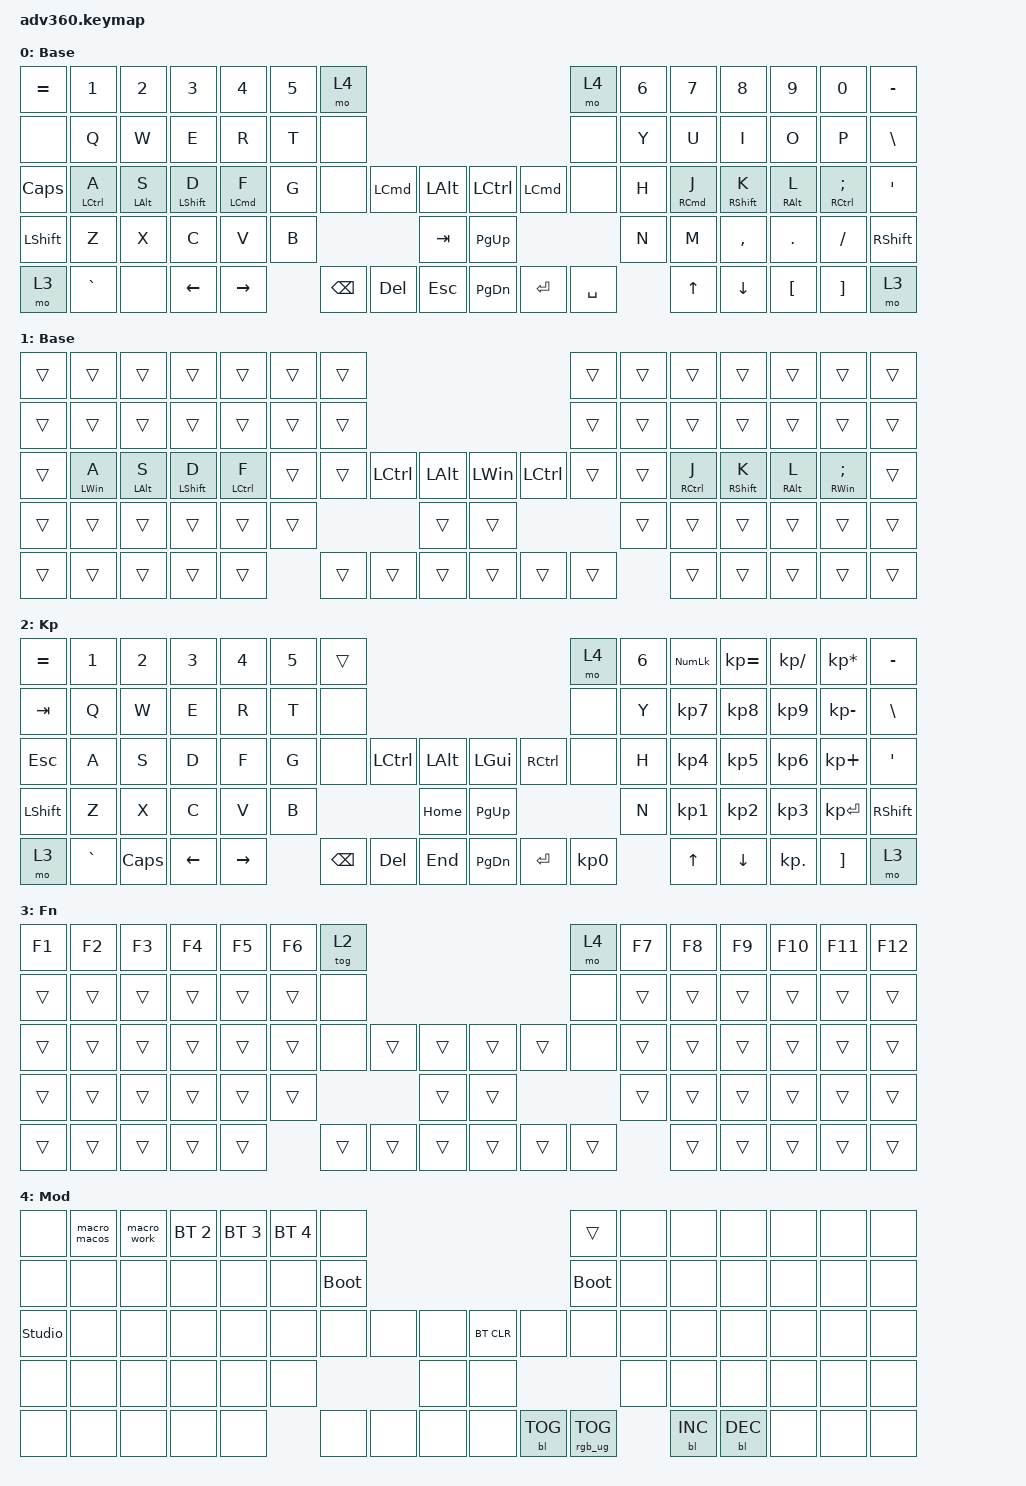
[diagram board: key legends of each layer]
#include <dt-bindings/zmk/stp.h>
#include <behaviors.dtsi>
#include <dt-bindings/zmk/backlight.h>
#include <dt-bindings/zmk/bt.h>
#include <dt-bindings/zmk/keys.h>
#include <dt-bindings/zmk/rgb.h>

/ {
    behaviors {
        #include "macros.dtsi"
      #include "version.dtsi"

        hml: homerow_mods_left {
            compatible = "zmk,behavior-hold-tap";
            label = "HOMEROW_MODS_LEFT";
            #binding-cells = <2>;
            tapping-term-ms = <280>;
            flavor = "balanced";
            bindings = <&kp>, <&kp>;

            quick-tap-ms = <175>;
            require-prior-idle-ms = <150>;
            hold-trigger-on-release;
            hold-trigger-key-positions = <36 35 65 66 67 52 68 53 37 38 69 70 75 74 73 72 71 54 55 56 57 58 59 45 44 43 42 41 40 39 21 22 23 24 25 27 26 12 13 10 11 7 8 9>;
        };

        hmr: homerow_mods_right {
            compatible = "zmk,behavior-hold-tap";
            label = "HOMEROW_MODS_RIGHT";
            #binding-cells = <2>;
            tapping-term-ms = <280>;
            flavor = "balanced";
            bindings = <&kp>, <&kp>;

            quick-tap-ms = <175>;
            require-prior-idle-ms = <150>;
            hold-trigger-on-release;
            hold-trigger-key-positions = <66 67 52 68 69 70 53 37 38 0 1 14 15 16 17 18 19 20 28 29 30 31 32 33 34 35 36 46 47 48 49 50 51 52 60 61 62 63 64 65 66 0 1 2 3 4 5 6 14 15 16 17 18 19 20 28 29 30 31 32 33 34 35 36 46 47 48 49 50 51 60 61 62 63 64 65>;
        };
    };

    macros {
        macro_macos: macro_macos {
            compatible = "zmk,behavior-macro";
            #binding-cells = <0>;
            bindings = <&bt BT_SEL 0 &to 0>;
            label = "MACRO_MACOS";
        };

        macro_work: macro_work {
            compatible = "zmk,behavior-macro";
            #binding-cells = <0>;
            bindings = <&bt BT_SEL 1 &to 1>;
            label = "MACRO_WORK";
        };
    };

    keymap {
        compatible = "zmk,keymap";

        macOS {
            display-name = "Base";
            bindings = <
&kp EQUAL       &kp N1               &kp N2           &kp N3             &kp N4               &kp N5  &mo 4                                                                             &mo 4      &kp N6  &kp N7                &kp N8              &kp N9            &kp N0                   &kp MINUS
&none           &kp Q                &kp W            &kp E              &kp R                &kp T   &none                                                                             &none      &kp Y   &kp U                 &kp I               &kp O             &kp P                    &kp BSLH
&kp CAPS        &hml LEFT_CONTROL A  &hml LEFT_ALT S  &hml LEFT_SHIFT D  &hml LEFT_COMMAND F  &kp G   &none     &kp LEFT_COMMAND  &kp LEFT_ALT      &kp LEFT_CONTROL  &kp LEFT_COMMAND  &none      &kp H   &hmr RIGHT_COMMAND J  &hmr RIGHT_SHIFT K  &hmr RIGHT_ALT L  &hmr RIGHT_CONTROL SEMI  &kp SQT
&kp LEFT_SHIFT  &kp Z                &kp X            &kp C              &kp V                &kp B                               &kp TAB           &kp PG_UP                                      &kp N   &kp M                 &kp COMMA           &kp DOT           &kp FSLH                 &kp RIGHT_SHIFT
&mo 3           &kp GRAVE            &none            &kp LEFT           &kp RIGHT                    &kp BSPC  &kp DEL           &kp ESC           &kp PG_DN         &kp ENTER         &kp SPACE          &kp UP                &kp DOWN            &kp LBKT          &kp RBKT                 &mo 3
            >;
        };

        PC {
            display-name = "Base";
            bindings = <
&trans  &trans           &trans           &trans             &trans               &trans  &trans                                                                      &trans  &trans  &trans                &trans              &trans            &trans               &trans
&trans  &trans           &trans           &trans             &trans               &trans  &trans                                                                      &trans  &trans  &trans                &trans              &trans            &trans               &trans
&trans  &hml LEFT_WIN A  &hml LEFT_ALT S  &hml LEFT_SHIFT D  &hml LEFT_CONTROL F  &trans  &trans  &kp LEFT_CONTROL  &kp LEFT_ALT      &kp LEFT_WIN  &kp LEFT_CONTROL  &trans  &trans  &hmr RIGHT_CONTROL J  &hmr RIGHT_SHIFT K  &hmr RIGHT_ALT L  &hmr RIGHT_WIN SEMI  &trans
&trans  &trans           &trans           &trans             &trans               &trans                            &trans            &trans                                  &trans  &trans                &trans              &trans            &trans               &trans
&trans  &trans           &trans           &trans             &trans                       &trans  &trans            &trans            &trans        &trans            &trans          &trans                &trans              &trans            &trans               &trans
            >;
        };

        keypad {
            display-name = "Kp";
            bindings = <
&kp EQUAL  &kp N1     &kp N2    &kp N3    &kp N4     &kp N5  &trans                                                   &mo 4      &kp N6  &kp KP_NUM  &kp KP_EQUAL  &kp KP_DIVIDE  &kp KP_MULTIPLY  &kp MINUS
&kp TAB    &kp Q      &kp W     &kp E     &kp R      &kp T   &none                                                    &none      &kp Y   &kp KP_N7   &kp KP_N8     &kp KP_N9      &kp KP_MINUS     &kp BSLH
&kp ESC    &kp A      &kp S     &kp D     &kp F      &kp G   &none     &kp LCTRL  &kp LALT      &kp LGUI   &kp RCTRL  &none      &kp H   &kp KP_N4   &kp KP_N5     &kp KP_N6      &kp KP_PLUS      &kp SQT
&kp LSHFT  &kp Z      &kp X     &kp C     &kp V      &kp B                        &kp HOME      &kp PG_UP                        &kp N   &kp KP_N1   &kp KP_N2     &kp KP_N3      &kp KP_ENTER     &kp RSHFT
&mo 3      &kp GRAVE  &kp CAPS  &kp LEFT  &kp RIGHT          &kp BSPC  &kp DEL    &kp END       &kp PG_DN  &kp ENTER  &kp KP_N0          &kp UP      &kp DOWN      &kp KP_DOT     &kp RBKT         &mo 3
            >;
        };

        fn {
            display-name = "Fn";
            bindings = <
&kp F1  &kp F2  &kp F3  &kp F4  &kp F5  &kp F6  &tog 2                                      &mo 4   &kp F7  &kp F8  &kp F9  &kp F10  &kp F11  &kp F12
&trans  &trans  &trans  &trans  &trans  &trans  &none                                       &none   &trans  &trans  &trans  &trans   &trans   &trans
&trans  &trans  &trans  &trans  &trans  &trans  &none   &trans  &trans      &trans  &trans  &none   &trans  &trans  &trans  &trans   &trans   &trans
&trans  &trans  &trans  &trans  &trans  &trans                  &trans      &trans                  &trans  &trans  &trans  &trans   &trans   &trans
&trans  &trans  &trans  &trans  &trans          &trans  &trans  &trans      &trans  &trans  &trans          &trans  &trans  &trans   &trans   &trans
            >;
        };

        mod {
            display-name = "Mod";
            bindings = <
&none           &macro_macos  &macro_work  &bt BT_SEL 2  &bt BT_SEL 3  &bt BT_SEL 4  &none                                                  &trans           &none  &none       &none       &none  &none  &none
&none           &none         &none        &none         &none         &none         &bootloader                                            &bootloader      &none  &none       &none       &none  &none  &none
&studio_unlock  &none         &none        &none         &none         &none         &none        &none  &none      &bt BT_CLR  &none       &none            &none  &none       &none       &none  &none  &none
&none           &none         &none        &none         &none         &none                             &none      &none                                    &none  &none       &none       &none  &none  &none
&none           &none         &none        &none         &none                       &none        &none  &none      &none       &bl BL_TOG  &rgb_ug RGB_TOG         &bl BL_INC  &bl BL_DEC  &none  &none  &none
            >;
        };
    };
};
